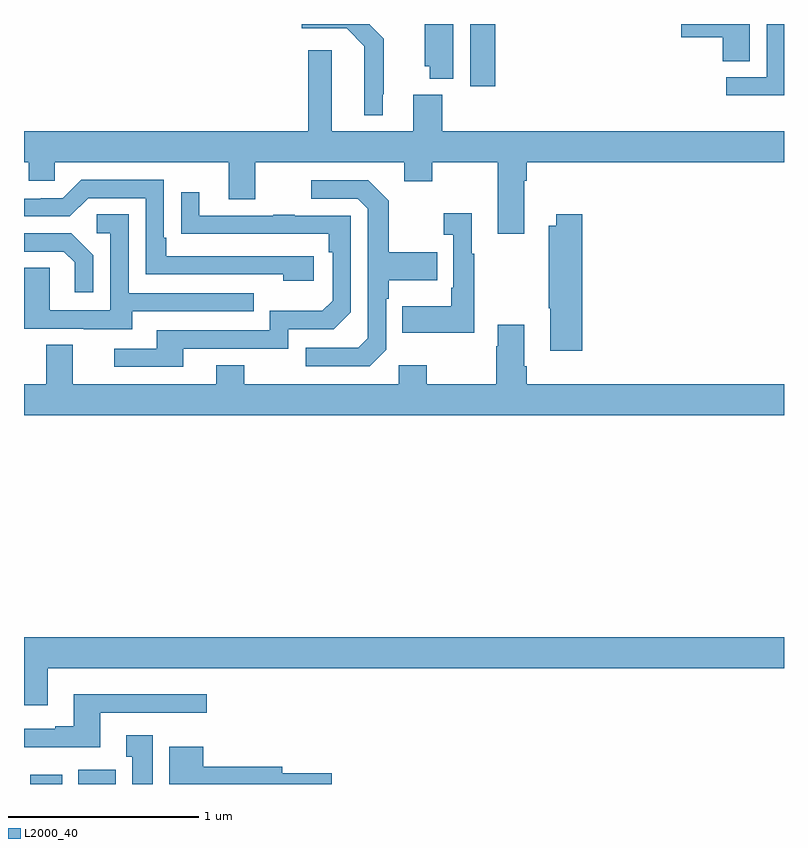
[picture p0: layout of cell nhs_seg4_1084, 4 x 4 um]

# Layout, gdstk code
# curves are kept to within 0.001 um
import gdstk
lib = gdstk.Library(unit=1e-6, precision=1e-09)
def R(c, l, rs):  # rectangles x0, y0, x1, y1
    for r in rs: c.add(gdstk.rectangle(r[:2], r[2:], *l))
def P(c, l, *ps):  # polygons
    for p in ps: c.add(gdstk.Polygon(p, *l))
L2000_40 = (2000, 40)

nhs_seg4_1084 = lib.new_cell('nhs_seg4_1084')
R(nhs_seg4_1084, L2000_40, [(167.033,774.9,167.2,774.949), (167.285,774.9,167.482,774.976), (169.349,778.572,169.481,778.9)])
P(nhs_seg4_1084, L2000_40, [(171,778.9),(170.91,778.9),(170.91,778.62),(170.697,778.62),(170.697,778.524),(171,778.524)],
  [(170.821,778.9),(170.46,778.9),(170.46,778.829),(170.678,778.829),(170.678,778.705),(170.821,778.705)],
  [(169.258,778.9),(169.109,778.9),(169.109,778.677),(169.136,778.677),(169.136,778.613),(169.258,778.613)],
  [(168.889,778.531),(168.893,778.531),(168.893,778.822),(168.819,778.896),(168.819,778.9),(168.462,778.9),(168.462,778.877),(168.699,778.877),(168.792,778.784),(168.791,778.421),(168.889,778.421)],
  [(169.633,778.076),(169.646,778.076),(169.646,778.172),(171,778.172),(171,778.336),(169.202,778.336),(169.202,778.528),(169.049,778.528),(169.049,778.336),(168.619,778.336),(168.619,778.762),(168.497,778.762),(168.497,778.336),(167,778.336),(167,778.172),(167.025,778.172),(167.025,778.074),(167.163,778.074),(167.163,778.172),(168.077,778.172),(168.077,777.978),(168.217,777.978),(168.217,778.172),(169.001,778.172),(169.001,778.073),(169.149,778.073),(169.149,778.172),(169.493,778.172),(169.493,777.795),(169.633,777.795)],
  [(168.526,777.678),(167.749,777.678),(167.749,777.775),(167.736,777.775),(167.736,778.08),(167.301,778.08),(167.205,777.984),(167.087,777.984),(167.087,777.981),(167,777.981),(167,777.888),(167.241,777.888),(167.337,777.984),(167.64,777.984),(167.64,777.582),(168.365,777.582),(168.365,777.548),(168.526,777.548)],
  [(168.906,777.186),(168.906,777.455),(168.919,777.455),(168.919,777.551),(169.175,777.551),(169.175,777.699),(168.919,777.699),(168.919,777.971),(168.813,778.077),(168.513,778.077),(168.513,777.981),(168.756,777.981),(168.81,777.927),(168.81,777.246),(168.759,777.195),(168.483,777.195),(168.483,777.099),(168.819,777.099)],
  [(167.839,777.192),(168.39,777.192),(168.39,777.294),(168.63,777.294),(168.72,777.384),(168.72,777.891),(168.425,777.891),(168.425,777.896),(168.313,777.896),(168.313,777.891),(167.923,777.891),(167.923,778.015),(167.827,778.015),(167.827,777.796),(168.604,777.795),(168.604,777.698),(168.624,777.698),(168.624,777.444),(168.571,777.391),(168.294,777.391),(168.294,777.288),(167.699,777.288),(167.699,777.192),(167.475,777.192),(167.475,777.096),(167.839,777.096)],
  [(169.369,777.691),(169.357,777.691),(169.357,777.904),(169.209,777.904),(169.209,777.791),(169.26,777.791),(169.26,777.511),(169.248,777.511),(169.248,777.415),(168.991,777.415),(168.991,777.275),(169.369,777.275)],
  [(167.569,777.387),(168.209,777.387),(168.209,777.483),(167.55,777.483),(167.55,777.899),(167.382,777.899),(167.382,777.798),(167.454,777.798),(167.454,777.393),(167.136,777.393),(167.136,777.617),(167,777.617),(167,777.297),(167.315,777.297),(167.315,777.293),(167.569,777.293)],
  [(169.937,777.898),(169.802,777.898),(169.802,777.838),(169.762,777.838),(169.762,777.403),(169.769,777.403),(169.769,777.18),(169.937,777.18)],
  [(167.364,777.682),(167.248,777.798),(167,777.798),(167,777.702),(167.21,777.702),(167.267,777.645),(167.267,777.489),(167.364,777.489)],
  [(171,777.004),(169.646,777.004),(169.646,777.1),(169.633,777.1),(169.633,777.316),(169.493,777.316),(169.493,777.203),(169.486,777.203),(169.486,777.004),(169.119,777.004),(169.119,777.103),(168.972,777.103),(168.972,777.004),(168.159,777.004),(168.159,777.103),(168.011,777.103),(168.011,777.004),(167.257,777.004),(167.257,777.212),(167.117,777.212),(167.117,777.004),(167,777.004),(167,776.84),(171,776.84)],
  [(167.125,775.508),(171,775.508),(171,775.672),(167,775.672),(167,775.314),(167.125,775.314)],
  [(167.401,775.275),(167.962,775.275),(167.962,775.372),(167.261,775.372),(167.261,775.204),(167.165,775.204),(167.165,775.191),(167,775.191),(167,775.094),(167.401,775.094)],
  [(167.677,775.156),(167.537,775.156),(167.537,775.043),(167.57,775.043),(167.57,774.9),(167.677,774.9)],
  [(168.619,774.956),(168.358,774.956),(168.358,774.992),(167.944,774.992),(167.944,775.096),(167.765,775.096),(167.765,774.9),(168.619,774.9)])

lib.write_gds('nhs_seg4_1084.gds')
